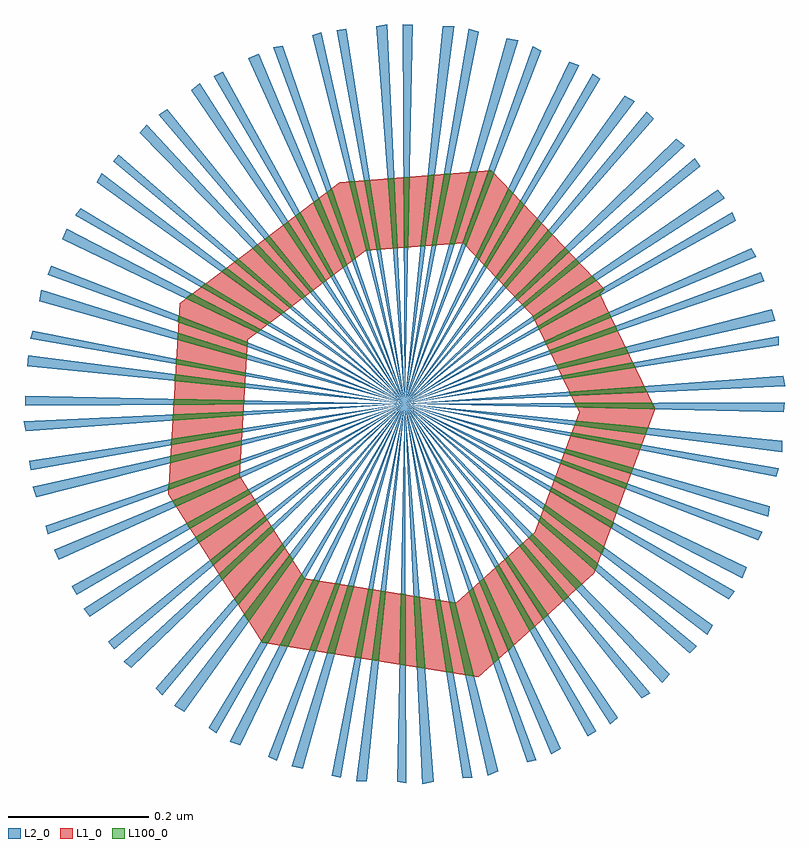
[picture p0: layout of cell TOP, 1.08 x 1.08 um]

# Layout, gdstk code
import gdstk
lib = gdstk.Library(unit=1e-6, precision=1e-09)
def R(c, l, rs):  # rectangles x0, y0, x1, y1
    for r in rs: c.add(gdstk.rectangle(r[:2], r[2:], *l))
def P(c, l, *ps):  # polygons
    for p in ps: c.add(gdstk.Polygon(p, *l))
L1_0 = (1, 0)
L2_0 = (2, 0)
L100_0 = (100, 0)

top = lib.new_cell('TOP')
P(top, L2_0, [(-0.329,2.401),(-0.601,2.867),(-0.588,2.873)],
  [(-0.329,2.401),(0.209,2.441),(0.212,2.426)],
  [(-0.329,2.401),(-0.147,2.909),(-0.135,2.903)],
  [(-0.718,2.025),(-0.729,2.034),(-0.329,2.401)],
  [(-0.329,2.401),(-0.516,2.908),(-0.503,2.91)],
  [(-0.329,2.401),(-0.744,2.746),(-0.736,2.755)],
  [(0.208,2.332),(-0.329,2.401),(0.208,2.348)],
  [(-0.329,2.401),(-0.862,2.493),(-0.858,2.505)],
  [(-0.474,1.882),(-0.49,1.885),(-0.329,2.401)],
  [(-0.329,2.401),(0.193,2.535),(0.198,2.519)],
  [(-0.329,2.401),(-0.238,2.934),(-0.224,2.93)],
  [(0.101,2.072),(-0.329,2.401),(0.109,2.086)],
  [(-0.329,2.401),(0.203,2.497),(0.203,2.484)],
  [(-0.796,2.129),(-0.803,2.141),(-0.329,2.401)],
  [(0.076,2.046),(-0.329,2.401),(0.086,2.056)],
  [(-0.329,2.401),(0.116,2.705),(0.126,2.693)],
  [(0.008,1.982),(-0.329,2.401),(0.02,1.989)],
  [(-0.329,2.401),(-0.461,2.925),(-0.448,2.929)],
  [(-0.853,2.268),(-0.858,2.283),(-0.329,2.401)],
  [(-0.329,2.401),(-0.706,2.786),(-0.696,2.798)],
  [(-0.329,2.401),(-0.849,2.547),(-0.846,2.563)],
  [(-0.868,2.362),(-0.871,2.376),(-0.329,2.401)],
  [(-0.211,1.872),(-0.329,2.401),(-0.196,1.878)],
  [(0.174,2.207),(-0.329,2.401),(0.179,2.219)],
  [(-0.329,2.401),(-0.866,2.454),(-0.865,2.47)],
  [(-0.069,1.928),(-0.329,2.401),(-0.057,1.935)],
  [(-0.327,1.861),(-0.34,1.863),(-0.329,2.401)],
  [(-0.861,2.306),(-0.863,2.32),(-0.329,2.401)],
  [(-0.742,2.052),(-0.751,2.062),(-0.329,2.401)],
  [(-0.329,2.401),(-0.332,2.941),(-0.318,2.94)],
  [(-0.329,2.401),(-0.816,2.635),(-0.81,2.65)],
  [(-0.329,2.401),(0.137,2.673),(0.142,2.661)],
  [(-0.329,2.401),(-0.062,2.87),(-0.051,2.863)],
  [(-0.247,1.868),(-0.329,2.401),(-0.233,1.869)],
  [(-0.329,2.401),(-0.184,2.921),(-0.168,2.918)],
  [(-0.563,1.915),(-0.578,1.92),(-0.329,2.401)],
  [(0.037,2.004),(-0.329,2.401),(0.048,2.016)],
  [(-0.837,2.215),(-0.84,2.227),(-0.329,2.401)],
  [(-0.329,2.401),(-0.679,2.812),(-0.667,2.82)],
  [(-0.329,2.401),(-0.798,2.669),(-0.79,2.679)],
  [(-0.329,2.401),(0.083,2.75),(0.091,2.739)],
  [(-0.869,2.398),(-0.869,2.412),(-0.329,2.401)],
  [(-0.42,1.869),(-0.433,1.872),(-0.329,2.401)],
  [(-0.329,2.401),(0.057,2.778),(0.069,2.768)],
  [(-0.329,2.401),(0.164,2.622),(0.171,2.61)],
  [(-0.777,2.098),(-0.786,2.109),(-0.329,2.401)],
  [(-0.329,2.401),(-0.633,2.847),(-0.621,2.857)],
  [(-0.329,2.401),(-0.275,2.938),(-0.259,2.938)],
  [(-0.511,1.893),(-0.523,1.899),(-0.329,2.401)],
  [(-0.643,1.963),(-0.657,1.971),(-0.329,2.401)],
  [(-0.329,2.401),(-0.426,2.932),(-0.412,2.934)],
  [(0.188,2.24),(-0.329,2.401),(0.19,2.255)],
  [(-0.329,2.401),(0.015,2.816),(0.025,2.806)],
  [(-0.329,2.401),(-0.016,2.839),(-0.002,2.831)],
  [(-0.155,1.891),(-0.329,2.401),(-0.142,1.894)],
  [(-0.329,2.401),(-0.837,2.584),(-0.832,2.597)],
  [(-0.304,1.86),(-0.329,2.401),(-0.288,1.863)],
  [(0.199,2.297),(-0.329,2.401),(0.203,2.309)],
  [(-0.329,2.401),(0.177,2.588),(0.182,2.575)],
  [(-0.037,1.945),(-0.329,2.401),(-0.026,1.954)],
  [(0.21,2.389),(-0.329,2.401),(0.211,2.403)],
  [(-0.398,1.864),(-0.329,2.401),(-0.383,1.864)],
  [(-0.329,2.401),(-0.37,2.938),(-0.354,2.941)],
  [(-0.597,1.932),(-0.608,1.94),(-0.329,2.401)],
  [(-0.329,2.401),(-0.552,2.892),(-0.537,2.899)],
  [(0.132,2.123),(-0.329,2.401),(0.14,2.134)],
  [(-0.329,2.401),(-0.095,2.887),(-0.081,2.882)],
  [(-0.821,2.179),(-0.828,2.193),(-0.329,2.401)],
  [(0.151,2.153),(-0.329,2.401),(0.157,2.168)],
  [(-0.674,1.986),(-0.683,1.996),(-0.329,2.401)],
  [(-0.121,1.902),(-0.329,2.401),(-0.107,1.91)],
  [(-0.329,2.401),(-0.767,2.716),(-0.76,2.729)])
R(top, L100_0, [(-0.659,2.384,-0.559,2.386)])
P(top, L100_0, [(-0.346,2.622),(-0.353,2.721),(-0.344,2.721),(-0.339,2.622)],
  [(-0.093,2.412),(-0.096,2.417),(0.016,2.417)],
  [(-0.558,2.101),(-0.498,2.179),(-0.488,2.179),(-0.544,2.101)],
  [(-0.146,2.521),(-0.147,2.525),(-0.137,2.525),(-0.143,2.521)],
  [(-0.64,2.231),(-0.563,2.273),(-0.548,2.273),(-0.621,2.231)],
  [(-0.41,2.142),(-0.41,2.143),(-0.401,2.142)],
  [(-0.113,2.498),(-0.055,2.524),(-0.035,2.524),(-0.097,2.498)],
  [(-0.551,2.259),(-0.543,2.264),(-0.539,2.259)],
  [(-0.085,2.396),(-0.088,2.402),(0.023,2.402),(0.026,2.396)],
  [(-0.446,2.572),(-0.449,2.576),(-0.441,2.576)],
  [(-0.429,2.045),(-0.44,2.046),(-0.429,2.046)],
  [(-0.619,2.567),(-0.613,2.572),(-0.605,2.567)],
  [(-0.579,2.471),(-0.653,2.492),(-0.62,2.492),(-0.553,2.471)],
  [(-0.153,2.21),(-0.148,2.216),(-0.142,2.21)],
  [(-0.581,2.296),(-0.576,2.298),(-0.564,2.298),(-0.563,2.296)],
  [(-0.566,2.115),(-0.572,2.123),(-0.559,2.123)],
  [(-0.14,2.51),(-0.14,2.511),(-0.13,2.511),(-0.132,2.51)],
  [(-0.007,2.301),(-0.036,2.31),(-0.004,2.31)],
  [(-0.584,2.445),(-0.655,2.457),(-0.615,2.457),(-0.555,2.445)],
  [(-0.496,2.54),(-0.572,2.603),(-0.561,2.603),(-0.489,2.54)],
  [(-0.163,2.542),(-0.093,2.601),(-0.08,2.601),(-0.154,2.542)],
  [(-0.526,2.221),(-0.519,2.227),(-0.515,2.221)],
  [(-0.434,2.581),(-0.436,2.584),(-0.43,2.584)],
  [(-0.053,2.472),(-0.015,2.482),(-0.011,2.472)],
  [(-0.449,2.576),(-0.502,2.655),(-0.492,2.655),(-0.441,2.576)],
  [(0.013,2.357),(-0.065,2.367),(0.017,2.367)],
  [(-0.652,2.517),(-0.651,2.526),(-0.628,2.517)],
  [(-0.128,2.485),(-0.13,2.49),(-0.116,2.49)],
  [(-0.189,2.57),(-0.131,2.641),(-0.119,2.641),(-0.181,2.57)],
  [(-0.492,2.537),(-0.496,2.54),(-0.489,2.54)],
  [(-0.576,2.298),(-0.564,2.303),(-0.564,2.298)],
  [(-0.205,2.038),(-0.238,2.134),(-0.23,2.134),(-0.195,2.038)],
  [(-0.666,2.278),(-0.665,2.287),(-0.641,2.287)],
  [(-0.124,2.477),(-0.051,2.504),(-0.026,2.504),(-0.106,2.477)],
  [(-0.572,2.123),(-0.508,2.196),(-0.499,2.196),(-0.559,2.123)],
  [(-0.145,2.519),(-0.146,2.521),(-0.143,2.521)],
  [(-0.108,2.126),(-0.166,2.199),(-0.158,2.199),(-0.096,2.126)],
  [(-0.093,2.601),(-0.086,2.607),(-0.08,2.601)],
  [(-0.546,2.622),(-0.539,2.628),(-0.533,2.622)],
  [(-0.065,2.367),(-0.088,2.37),(-0.014,2.37),(0.017,2.367)],
  [(-0.185,2.057),(-0.223,2.147),(-0.214,2.147),(-0.174,2.057)],
  [(-0.554,2.464),(-0.579,2.471),(-0.553,2.471)],
  [(-0.436,2.584),(-0.485,2.668),(-0.475,2.668),(-0.43,2.584)],
  [(-0.14,2.511),(-0.136,2.514),(-0.125,2.514),(-0.13,2.511)],
  [(-0.479,2.554),(-0.546,2.622),(-0.533,2.622),(-0.47,2.554)],
  [(-0.594,2.158),(-0.526,2.221),(-0.515,2.221),(-0.581,2.158)],
  [(-0.291,2.626),(-0.273,2.728),(-0.264,2.728),(-0.284,2.626)],
  [(-0.505,2.528),(-0.509,2.531),(-0.5,2.531)],
  [(-0.662,2.342),(-0.661,2.351),(-0.611,2.351)],
  [(-0.062,2.197),(-0.133,2.251),(-0.12,2.251),(-0.045,2.197)],
  [(-0.4,2.04),(-0.381,2.137),(-0.374,2.137),(-0.391,2.04)],
  [(-0.247,2.629),(-0.211,2.729),(-0.202,2.729),(-0.24,2.629)],
  [(-0.055,2.524),(-0.039,2.531),(-0.035,2.524)],
  [(-0.46,2.149),(-0.459,2.151),(-0.45,2.149)],
  [(-0.57,2.488),(-0.652,2.517),(-0.628,2.517),(-0.552,2.488)],
  [(-0.064,2.582),(-0.063,2.583),(-0.062,2.582)],
  [(-0.572,2.603),(-0.566,2.607),(-0.561,2.603)],
  [(-0.01,2.394),(-0.085,2.396),(0.026,2.396),(0.027,2.394)],
  [(-0.035,2.343),(-0.094,2.355),(-0.063,2.355),(0.008,2.343)],
  [(-0.659,2.386),(-0.558,2.39),(-0.559,2.386)],
  [(-0.058,2.163),(-0.069,2.173),(-0.054,2.173)],
  [(-0.131,2.641),(-0.125,2.648),(-0.119,2.641)],
  [(-0.551,2.091),(-0.558,2.101),(-0.544,2.101)],
  [(-0.533,2.063),(-0.48,2.153),(-0.471,2.153),(-0.522,2.063)],
  [(-0.085,2.137),(-0.092,2.144),(-0.077,2.144)],
  [(-0.111,2.45),(-0.114,2.456),(-0.084,2.456)],
  [(-0.094,2.355),(-0.092,2.36),(-0.063,2.355)],
  [(-0.553,2.482),(-0.57,2.488),(-0.552,2.488)],
  [(-0.53,2.516),(-0.619,2.567),(-0.605,2.567),(-0.52,2.516)],
  [(-0.033,2.287),(-0.108,2.316),(-0.092,2.316),(-0.012,2.287)],
  [(-0.243,2.015),(-0.266,2.118),(-0.257,2.118),(-0.231,2.015)],
  [(-0.328,2.028),(-0.337,2.03),(-0.328,2.03)],
  [(-0.036,2.31),(-0.103,2.331),(-0.079,2.331),(-0.004,2.31)],
  [(-0.228,2.61),(-0.185,2.7),(-0.175,2.7),(-0.222,2.61)],
  [(-0.507,2.057),(-0.46,2.149),(-0.45,2.149),(-0.494,2.057)],
  [(-0.114,2.456),(-0.053,2.472),(-0.011,2.472),(-0.084,2.456)],
  [(-0.049,2.187),(-0.062,2.197),(-0.045,2.197)],
  [(-0.657,2.433),(-0.656,2.443),(-0.579,2.433)],
  [(-0.076,2.574),(-0.073,2.576),(-0.056,2.576),(-0.06,2.574)],
  [(-0.44,2.702),(-0.433,2.707),(-0.431,2.702)],
  [(-0.663,2.316),(-0.663,2.327),(-0.62,2.327)],
  [(-0.107,2.441),(-0.048,2.452),(-0.001,2.452),(-0.072,2.441)],
  [(-0.312,2.026),(-0.316,2.126),(-0.308,2.126),(-0.3,2.026)],
  [(-0.563,2.273),(-0.552,2.279),(-0.548,2.273)],
  [(-0.66,2.377),(-0.659,2.384),(-0.559,2.384)],
  [(-0.48,2.153),(-0.476,2.159),(-0.472,2.153)],
  [(-0.136,2.514),(-0.075,2.55),(-0.06,2.55),(-0.125,2.514)],
  [(-0.217,2.598),(-0.168,2.684),(-0.159,2.684),(-0.211,2.598)],
  [(-0.307,2.625),(-0.296,2.726),(-0.287,2.726),(-0.3,2.625)],
  [(-0.502,2.655),(-0.495,2.66),(-0.492,2.655)],
  [(-0.485,2.668),(-0.478,2.673),(-0.475,2.668)],
  [(-0.655,2.254),(-0.66,2.263),(-0.635,2.263)],
  [(-0.376,2.036),(-0.363,2.134),(-0.356,2.134),(-0.366,2.036)],
  [(-0.048,2.232),(-0.123,2.277),(-0.112,2.277),(-0.032,2.232)],
  [(-0.27,2.019),(-0.286,2.122),(-0.279,2.122),(-0.26,2.019)],
  [(-0.211,2.729),(-0.21,2.733),(-0.206,2.733),(-0.202,2.729)],
  [(-0.213,2.594),(-0.217,2.598),(-0.211,2.598)],
  [(-0.224,2.606),(-0.228,2.61),(-0.222,2.61)],
  [(-0.242,2.625),(-0.246,2.629),(-0.24,2.629)],
  [(-0.6,2.36),(-0.56,2.366),(-0.56,2.36)],
  [(-0.465,2.05),(-0.428,2.145),(-0.421,2.145),(-0.455,2.05)],
  [(-0.384,2.619),(-0.409,2.717),(-0.4,2.717),(-0.378,2.619)],
  [(-0.627,2.43),(-0.657,2.433),(-0.579,2.433),(-0.556,2.43)],
  [(-0.466,2.562),(-0.528,2.635),(-0.518,2.635),(-0.459,2.562)],
  [(-0.524,2.06),(-0.532,2.061),(-0.523,2.061)],
  [(0.027,2.393),(-0.01,2.394),(0.027,2.394)],
  [(-0.556,2.423),(-0.627,2.43),(-0.556,2.43)],
  [(-0.223,2.147),(-0.217,2.153),(-0.214,2.147)],
  [(-0.26,2.018),(-0.27,2.019),(-0.26,2.019)],
  [(-0.366,2.035),(-0.376,2.036),(-0.366,2.036)],
  [(-0.455,2.049),(-0.465,2.05),(-0.455,2.05)],
  [(-0.182,2.049),(-0.185,2.057),(-0.174,2.057)],
  [(-0.103,2.331),(-0.1,2.337),(-0.079,2.331)],
  [(-0.118,2.495),(-0.113,2.498),(-0.097,2.498),(-0.104,2.495)],
  [(-0.138,2.506),(-0.14,2.51),(-0.132,2.51)],
  [(-0.417,2.594),(-0.419,2.598),(-0.411,2.598)],
  [(-0.593,2.342),(-0.561,2.349),(-0.561,2.342)],
  [(-0.661,2.351),(-0.6,2.36),(-0.56,2.36),(-0.611,2.351)],
  [(-0.047,2.255),(-0.117,2.292),(-0.102,2.292),(-0.024,2.255)],
  [(-0.159,2.538),(-0.163,2.542),(-0.154,2.542)],
  [(-0.475,2.55),(-0.479,2.554),(-0.47,2.554)],
  [(-0.201,2.168),(-0.196,2.172),(-0.194,2.168)],
  [(-0.096,2.418),(0.011,2.426),(0.015,2.418)],
  [(-0.581,2.315),(-0.563,2.321),(-0.563,2.315)],
  [(-0.054,2.562),(-0.051,2.564),(-0.045,2.564),(-0.047,2.562)],
  [(-0.59,2.589),(-0.583,2.594),(-0.576,2.589)],
  [(-0.015,2.28),(-0.033,2.287),(-0.012,2.287)],
  [(-0.589,2.15),(-0.594,2.158),(-0.581,2.158)],
  [(-0.555,2.44),(-0.584,2.445),(-0.555,2.445)],
  [(0.005,2.335),(-0.035,2.343),(0.008,2.343)],
  [(-0.187,2.18),(-0.182,2.184),(-0.179,2.18)],
  [(-0.166,2.199),(-0.161,2.203),(-0.158,2.199)],
  [(-0.185,2.7),(-0.182,2.707),(-0.175,2.7)],
  [(-0.035,2.224),(-0.048,2.232),(-0.032,2.232)],
  [(-0.509,2.531),(-0.59,2.589),(-0.576,2.589),(-0.5,2.531)],
  [(-0.107,2.617),(-0.101,2.623),(-0.095,2.617)],
  [(-0.117,2.292),(-0.115,2.298),(-0.102,2.292)],
  [(-0.404,2.604),(-0.405,2.607),(-0.399,2.607)],
  [(-0.155,2.084),(-0.201,2.168),(-0.194,2.168),(-0.144,2.084)],
  [(-0.316,2.126),(-0.316,2.128),(-0.308,2.126)],
  [(-0.337,2.03),(-0.335,2.13),(-0.328,2.13),(-0.328,2.03)],
  [(-0.459,2.687),(-0.451,2.693),(-0.448,2.687)],
  [(-0.663,2.327),(-0.593,2.342),(-0.561,2.342),(-0.62,2.327)],
  [(-0.463,2.559),(-0.466,2.562),(-0.459,2.562)],
  [(-0.203,2.031),(-0.205,2.038),(-0.195,2.038)],
  [(-0.139,2.234),(-0.136,2.241),(-0.128,2.234)],
  [(-0.048,2.452),(-0.005,2.46),(-0.001,2.452)],
  [(-0.151,2.077),(-0.155,2.084),(-0.144,2.084)],
  [(-0.132,2.094),(-0.136,2.101),(-0.125,2.101)],
  [(-0.498,2.179),(-0.493,2.186),(-0.488,2.179)],
  [(-0.44,2.046),(-0.41,2.142),(-0.401,2.142),(-0.429,2.046)],
  [(-0.051,2.564),(-0.047,2.566),(-0.045,2.564)],
  [(-0.075,2.55),(-0.066,2.555),(-0.05,2.555),(-0.06,2.55)],
  [(-0.266,2.118),(-0.266,2.12),(-0.257,2.118)],
  [(-0.173,2.553),(-0.107,2.617),(-0.095,2.617),(-0.164,2.553)],
  [(-0.23,2.013),(-0.243,2.015),(-0.231,2.015)],
  [(-0.108,2.316),(-0.106,2.321),(-0.092,2.316)],
  [(-0.602,2.171),(-0.606,2.178),(-0.594,2.178)],
  [(-0.539,2.502),(-0.547,2.506),(-0.533,2.506)],
  [(-0.532,2.061),(-0.533,2.063),(-0.522,2.063),(-0.523,2.061)],
  [(-0.547,2.506),(-0.641,2.551),(-0.619,2.551),(-0.533,2.506)],
  [(-0.133,2.251),(-0.13,2.258),(-0.12,2.251)],
  [(-0.136,2.101),(-0.187,2.18),(-0.179,2.18),(-0.125,2.101)],
  [(-0.266,2.628),(-0.237,2.731),(-0.226,2.731),(-0.258,2.628)],
  [(-0.13,2.49),(-0.118,2.495),(-0.104,2.495),(-0.116,2.49)],
  [(-0.063,2.557),(-0.054,2.562),(-0.047,2.562),(-0.052,2.557)],
  [(-0.622,2.203),(-0.627,2.211),(-0.61,2.211)],
  [(-0.525,2.513),(-0.53,2.516),(-0.52,2.516)],
  [(-0.146,2.657),(-0.141,2.664),(-0.134,2.657)],
  [(-0.627,2.211),(-0.551,2.259),(-0.539,2.259),(-0.61,2.211)],
  [(-0.051,2.504),(-0.03,2.512),(-0.026,2.504)],
  [(-0.073,2.576),(-0.064,2.582),(-0.062,2.582),(-0.056,2.576)],
  [(-0.409,2.717),(-0.4,2.718),(-0.4,2.717)],
  [(-0.353,2.721),(-0.344,2.722),(-0.344,2.721)],
  [(-0.331,2.723),(-0.322,2.724),(-0.322,2.723)],
  [(-0.296,2.726),(-0.287,2.727),(-0.287,2.726)],
  [(-0.121,2.472),(-0.124,2.477),(-0.106,2.477)],
  [(-0.238,2.134),(-0.232,2.139),(-0.23,2.134)],
  [(-0.123,2.277),(-0.121,2.282),(-0.112,2.277)],
  [(-0.659,2.399),(-0.659,2.4),(-0.558,2.4)],
  [(-0.419,2.598),(-0.459,2.687),(-0.448,2.687),(-0.411,2.598)],
  [(-0.635,2.223),(-0.64,2.231),(-0.621,2.231)],
  [(-0.2,2.581),(-0.146,2.657),(-0.134,2.657),(-0.192,2.581)],
  [(-0.658,2.406),(-0.658,2.408),(-0.557,2.406)],
  [(-0.534,2.236),(-0.528,2.241),(-0.525,2.236)],
  [(-0.066,2.555),(-0.063,2.557),(-0.052,2.557),(-0.05,2.555)],
  [(-0.606,2.178),(-0.534,2.236),(-0.525,2.236),(-0.594,2.178)],
  [(-0.653,2.492),(-0.652,2.502),(-0.62,2.492)],
  [(-0.104,2.436),(-0.107,2.441),(-0.072,2.441)],
  [(-0.028,2.245),(-0.047,2.255),(-0.024,2.255)],
  [(-0.103,2.12),(-0.108,2.126),(-0.096,2.126)],
  [(-0.069,2.173),(-0.139,2.234),(-0.128,2.234),(-0.054,2.173)],
  [(-0.185,2.565),(-0.189,2.57),(-0.181,2.57)],
  [(-0.196,2.576),(-0.2,2.581),(-0.192,2.581)],
  [(-0.369,2.62),(-0.387,2.719),(-0.379,2.719),(-0.363,2.62)],
  [(-0.528,2.635),(-0.522,2.64),(-0.518,2.635)],
  [(-0.66,2.263),(-0.581,2.296),(-0.563,2.296),(-0.635,2.263)],
  [(-0.384,2.618),(-0.384,2.619),(-0.378,2.619)],
  [(-0.369,2.619),(-0.369,2.62),(-0.363,2.62)],
  [(-0.33,2.622),(-0.33,2.623),(-0.324,2.623)],
  [(-0.659,2.4),(-0.658,2.406),(-0.557,2.406),(-0.558,2.4)],
  [(-0.169,2.548),(-0.173,2.553),(-0.164,2.553)],
  [(-0.092,2.144),(-0.153,2.21),(-0.142,2.21),(-0.077,2.144)],
  [(-0.168,2.684),(-0.165,2.69),(-0.159,2.684)],
  [(-0.3,2.024),(-0.312,2.026),(-0.3,2.026)],
  [(-0.096,2.417),(-0.096,2.418),(0.015,2.418),(0.016,2.417)],
  [(-0.655,2.457),(-0.655,2.465),(-0.615,2.457)],
  [(-0.405,2.607),(-0.44,2.702),(-0.431,2.702),(-0.399,2.607)],
  [(-0.346,2.621),(-0.346,2.622),(-0.339,2.622)],
  [(-0.307,2.624),(-0.307,2.625),(-0.3,2.625)],
  [(-0.291,2.625),(-0.291,2.626),(-0.284,2.626)],
  [(-0.286,2.122),(-0.286,2.123),(-0.279,2.122)],
  [(-0.335,2.13),(-0.335,2.131),(-0.328,2.13)],
  [(-0.363,2.134),(-0.363,2.135),(-0.356,2.134)],
  [(-0.381,2.137),(-0.381,2.138),(-0.374,2.137)],
  [(-0.428,2.145),(-0.428,2.146),(-0.421,2.145)],
  [(-0.33,2.623),(-0.331,2.723),(-0.322,2.723),(-0.324,2.623)],
  [(-0.665,2.287),(-0.581,2.315),(-0.563,2.315),(-0.641,2.287)],
  [(-0.495,2.055),(-0.507,2.057),(-0.494,2.057)],
  [(-0.641,2.551),(-0.632,2.558),(-0.619,2.551)],
  [(-0.508,2.196),(-0.503,2.202),(-0.499,2.196)],
  [(-0.088,2.37),(-0.085,2.377),(-0.014,2.37)],
  [(-0.266,2.627),(-0.266,2.628),(-0.258,2.628)],
  [(-0.391,2.039),(-0.4,2.04),(-0.391,2.04)],
  [(-0.147,2.525),(-0.076,2.574),(-0.06,2.574),(-0.137,2.525)])
top.add(gdstk.FlexPath([(-0.081,2.529),(-0.226,2.681),(-0.403,2.667),(-0.601,2.518),(-0.615,2.285),(-0.502,2.107),(-0.24,2.065),(-0.102,2.189),(-0.027,2.391),(-0.109,2.561)], 0.1, ends="flush", simple_path=True, layer=1, datatype=0))  # L1_0

lib.write_gds('TOP.gds')
